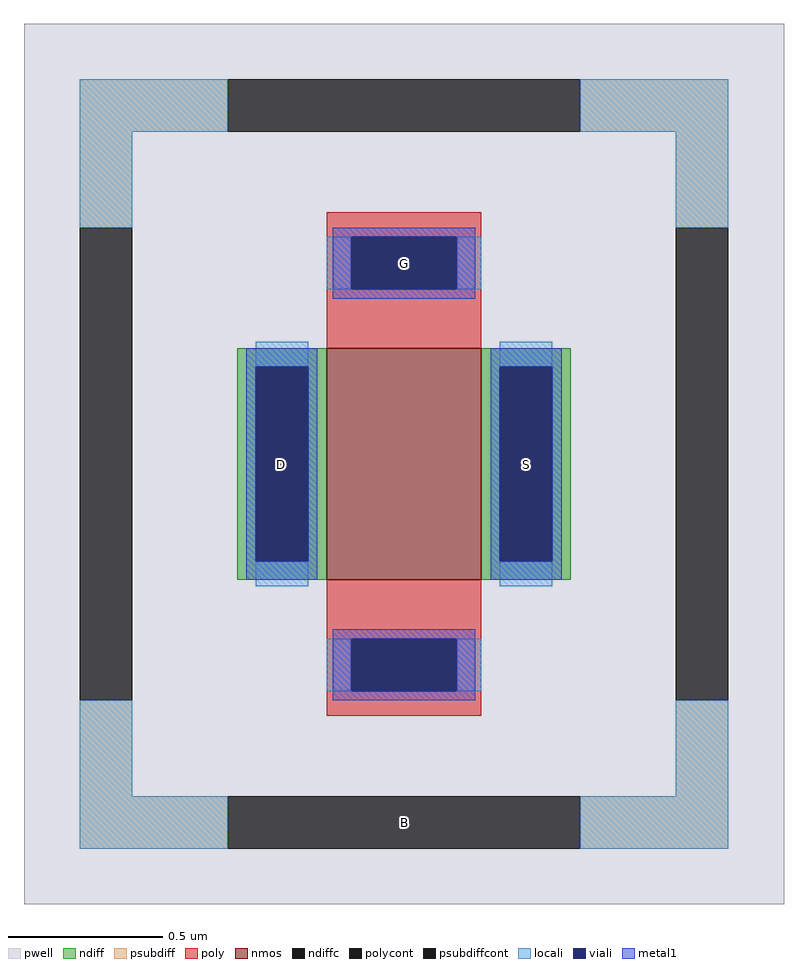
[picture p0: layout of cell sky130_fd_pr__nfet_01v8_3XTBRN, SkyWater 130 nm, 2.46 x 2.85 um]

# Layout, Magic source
magic
tech sky130A
magscale 1 2
<< pwell >>
rect -246 -285 246 285
<< nmos >>
rect -50 -75 50 75
<< ndiff >>
rect -108 63 -50 75
rect -108 -63 -96 63
rect -62 -63 -50 63
rect -108 -75 -50 -63
rect 50 63 108 75
rect 50 -63 62 63
rect 96 -63 108 63
rect 50 -75 108 -63
<< ndiffc >>
rect -96 -63 -62 63
rect 62 -63 96 63
<< psubdiff >>
rect -210 215 -114 249
rect 114 215 210 249
rect -210 153 -176 215
rect 176 153 210 215
rect -210 -215 -176 -153
rect 176 -215 210 -153
rect -210 -249 -114 -215
rect 114 -249 210 -215
<< psubdiffcont >>
rect -114 215 114 249
rect -210 -153 -176 153
rect 176 -153 210 153
rect -114 -249 114 -215
<< poly >>
rect -50 147 50 163
rect -50 113 -34 147
rect 34 113 50 147
rect -50 75 50 113
rect -50 -113 50 -75
rect -50 -147 -34 -113
rect 34 -147 50 -113
rect -50 -163 50 -147
<< polycont >>
rect -34 113 34 147
rect -34 -147 34 -113
<< locali >>
rect -210 215 -114 249
rect 114 215 210 249
rect -210 153 -176 215
rect 176 153 210 215
rect -50 113 -34 147
rect 34 113 50 147
rect -96 63 -62 79
rect -96 -79 -62 -63
rect 62 63 96 79
rect 62 -79 96 -63
rect -50 -147 -34 -113
rect 34 -147 50 -113
rect -210 -215 -176 -153
rect 176 -215 210 -153
rect -210 -249 -114 -215
rect 114 -249 210 -215
<< viali >>
rect -34 113 34 147
rect -96 -63 -62 63
rect 62 -63 96 63
rect -34 -147 34 -113
<< metal1 >>
rect -46 147 46 153
rect -46 113 -34 147
rect 34 113 46 147
rect -46 107 46 113
rect -102 63 -56 75
rect -102 -63 -96 63
rect -62 -63 -56 63
rect -102 -75 -56 -63
rect 56 63 102 75
rect 56 -63 62 63
rect 96 -63 102 63
rect 56 -75 102 -63
rect -46 -113 46 -107
rect -46 -147 -34 -113
rect 34 -147 46 -113
rect -46 -153 46 -147
<< labels >>
rlabel psubdiffcont 0 -232 0 -232 0 B
port 13 nsew
rlabel ndiffc -79 0 -79 0 0 D
port 14 nsew
rlabel ndiffc 79 0 79 0 0 S
port 15 nsew
rlabel polycont 0 130 0 130 0 G
port 16 nsew
<< properties >>
string FIXED_BBOX -193 -232 193 232
string gencell sky130_fd_pr__nfet_01v8
string library sky130
string parameters w 0.75 l 0.5 m 1 nf 1 diffcov 100 polycov 100 guard 1 glc 1 grc 1 gtc 1 gbc 1 tbcov 100 rlcov 100 topc 1 botc 1 poverlap 0 doverlap 1 lmin 0.15 wmin 0.42 class mosfet compatible {sky130_fd_pr__nfet_01v8 sky130_fd_pr__nfet_01v8_lvt  sky130_fd_bs_flash__special_sonosfet_star  sky130_fd_pr__nfet_g5v0d10v5 sky130_fd_pr__nfet_05v0_nvt  sky130_fd_pr__nfet_03v3_nvt} full_metal 1 conn_gates 0 viasrc 100 viadrn 100 viagate 100 viagb 0 viagr 0 viagl 0 viagt 0 doports 1
<< end >>
